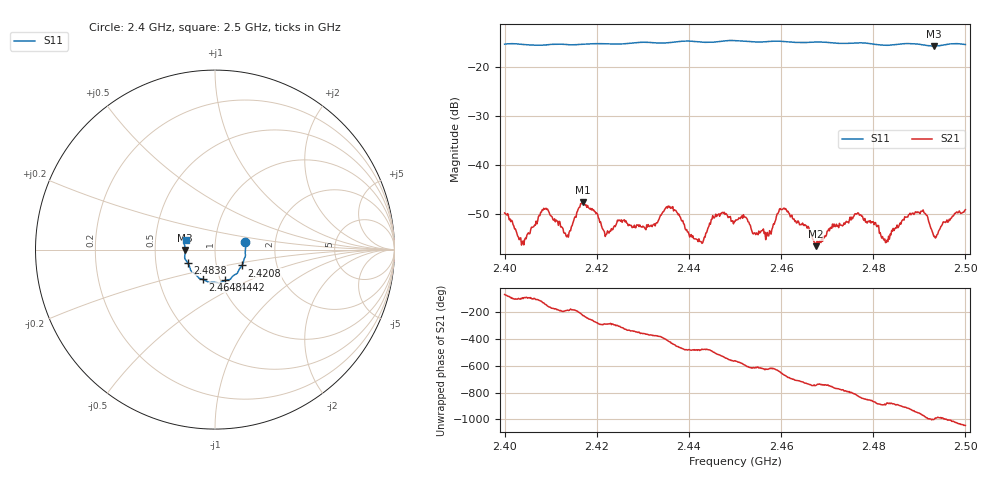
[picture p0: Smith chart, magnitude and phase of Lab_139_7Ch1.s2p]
# Hz S RI R 50
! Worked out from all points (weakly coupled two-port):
!   601 points, 2.4 GHz to 2.5 GHz, reference 50 ohm
!   highest |S21| = -47.64 dB at 2.417 GHz (marker M1); lowest = -56.6 dB at 2.4675 GHz (marker M2)
!   lowest |S11| = -15.6 dB at 2.4932 GHz (marker M3), VSWR 1.40, Z = 35.8 - j0.106 ohm
!   |S11| at or under -10 dB: start of sweep to end of sweep
!   S12 and S22 are empty: the file has one direction only
!   S11 on the Smith chart (normalised r, x): 2.4 GHz: 1.40, +0.12; 2.4208 GHz: 1.33, -0.24; 2.4442 GHz: 1.05, -0.37; 2.4648 GHz: 0.83, -0.28; 2.4838 GHz: 0.73, -0.11; 2.5 GHz: 0.72, +0.08
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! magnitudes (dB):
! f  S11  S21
! 2.4 GHz  -15.2  -49.8
! 2.4042 GHz  -15.3  -56.4
! 2.4087 GHz  -15.4  -49.0
! 2.4138 GHz  -15.3  -54.8
! 2.4167 GHz  -15.3  -47.9
! 2.417 GHz  -15.3  -47.6
! 2.4208 GHz  -15.1  -51.6
! 2.4333 GHz  -15.0  -51.4
! 2.436 GHz  -14.9  -48.9
! 2.4415 GHz  -14.7  -55.1
! 2.4442 GHz  -14.9  -52.8
! 2.45 GHz  -14.5  -51.6
! 2.4605 GHz  -14.7  -48.9
! 2.4648 GHz  -14.9  -52.2
! 2.4667 GHz  -14.8  -54.4
! 2.4675 GHz  -14.8  -56.6
! 2.4765 GHz  -15.0  -50.0
! 2.4833 GHz  -15.5  -54.6
! 2.4838 GHz  -15.4  -54.3
! 2.4905 GHz  -15.4  -49.5
! 2.4932 GHz  -15.6  -54.6
! 2.5 GHz  -15.3  -49.2
